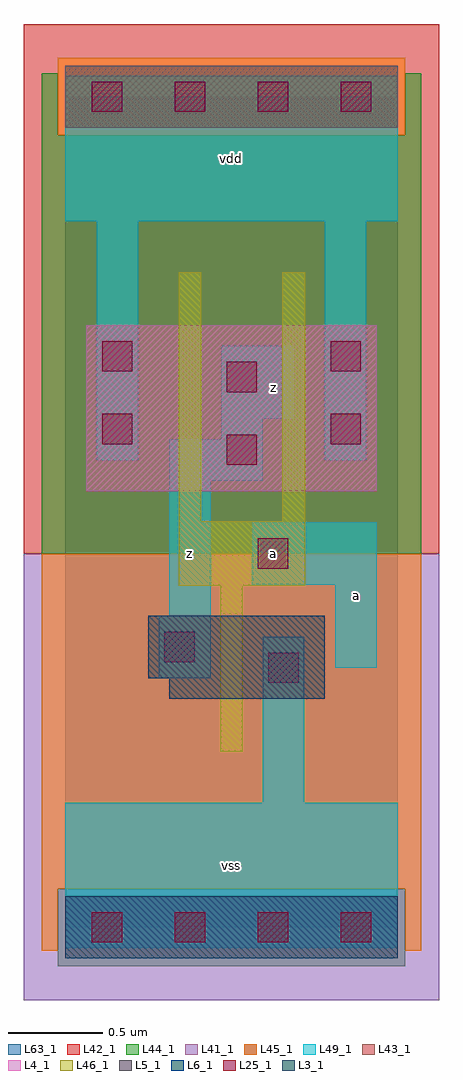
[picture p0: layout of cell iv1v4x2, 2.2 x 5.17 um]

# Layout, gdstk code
import gdstk
lib = gdstk.Library(unit=1e-6, precision=1e-09)
def R(c, l, rs):  # rectangles x0, y0, x1, y1
    for r in rs: c.add(gdstk.rectangle(r[:2], r[2:], *l))
def A(c, l, x, y, w, h, nx, ny, dx, dy):  # array of equal rectangles
    R(c, l, [(x+i*dx, y+j*dy, x+i*dx+w, y+j*dy+h) for i in range(nx) for j in range(ny)])
L3_1 = (3, 1)
L4_1 = (4, 1)
L5_1 = (5, 1)
L6_1 = (6, 1)
L25_1 = (25, 1)
L41_1 = (41, 1)
L42_1 = (42, 1)
L43_1 = (43, 1)
L44_1 = (44, 1)
L45_1 = (45, 1)
L46_1 = (46, 1)
L49_1 = (49, 1)
L63_1 = (63, 1)

iv1v4x2 = lib.new_cell('iv1v4x2')
R(iv1v4x2, L3_1, [(0.55,1.21,1.375,1.32), (0.44,1.32,1.375,1.65)])
R(iv1v4x2, L4_1, [(0.11,2.31,1.65,3.19)])
R(iv1v4x2, L5_1, [(0,4.235,1.76,4.565)])
R(iv1v4x2, L6_1, [(0,-0.165,1.76,0.165)])
A(iv1v4x2, L25_1, 0.14, -0.08, 0.16, 0.16, 4, 2, 0.44, 4.4)
R(iv1v4x2, L25_1, [(1.075,1.295,1.235,1.455), (0.525,1.405,0.685,1.565), (1.02,1.9,1.18,2.06), (0.855,2.45,1.015,2.61), (0.195,2.56,0.355,2.72), (1.405,2.56,1.565,2.72), (0.855,2.835,1.015,2.995), (0.195,2.945,0.355,3.105), (1.405,2.945,1.565,3.105)])
R(iv1v4x2, L41_1, [(-0.22,-0.385,1.98,1.98)])
R(iv1v4x2, L42_1, [(-0.22,1.98,1.98,4.785)])
R(iv1v4x2, L43_1, [(0,-0.165,1.76,0.165), (0.55,1.21,1.375,1.32), (0.44,1.32,1.375,1.65), (0.11,2.31,1.65,3.19), (0,4.235,1.76,4.565)])
R(iv1v4x2, L44_1, [(-0.04,-0.205,1.8,0.205), (-0.125,1.98,1.885,4.195), (-0.125,4.195,-0.04,4.525), (1.8,4.195,1.885,4.525)])
R(iv1v4x2, L45_1, [(-0.125,-0.125,-0.04,0.205), (1.8,-0.125,1.885,0.205), (-0.125,0.205,1.885,1.98), (-0.04,4.195,1.8,4.605)])
R(iv1v4x2, L46_1, [(0.82,0.93,0.94,1.81), (0.6,1.81,1.27,2.15), (0.6,2.15,0.72,3.47), (1.15,2.15,1.27,3.47)])
R(iv1v4x2, L49_1, [(0,-0.11,1.76,0.66), (1.045,0.66,1.265,1.54), (0.495,1.32,0.77,1.65), (1.43,1.375,1.65,1.815), (0.55,1.65,0.77,2.365), (0.99,1.815,1.65,2.145), (0.55,2.365,1.045,2.585), (0.165,2.475,0.385,3.74), (1.375,2.475,1.595,3.74), (0.825,2.585,1.045,2.695), (0.825,2.695,1.21,3.08), (0,3.74,1.76,4.51)])
R(iv1v4x2, L63_1, [(0,0,1.76,4.4)])
iv1v4x2.add(gdstk.Label('z', (0.66,1.98), layer=49, texttype=1))
iv1v4x2.add(gdstk.Label('vss', (0.88,0.33), layer=49, texttype=1))
iv1v4x2.add(gdstk.Label('a', (1.1,1.98), layer=49, texttype=1))
iv1v4x2.add(gdstk.Label('z', (1.1,2.86), layer=49, texttype=1))
iv1v4x2.add(gdstk.Label('vdd', (0.88,4.07), layer=49, texttype=1))
iv1v4x2.add(gdstk.Label('a', (1.54,1.76), layer=49, texttype=1))

lib.write_gds('iv1v4x2.gds')
